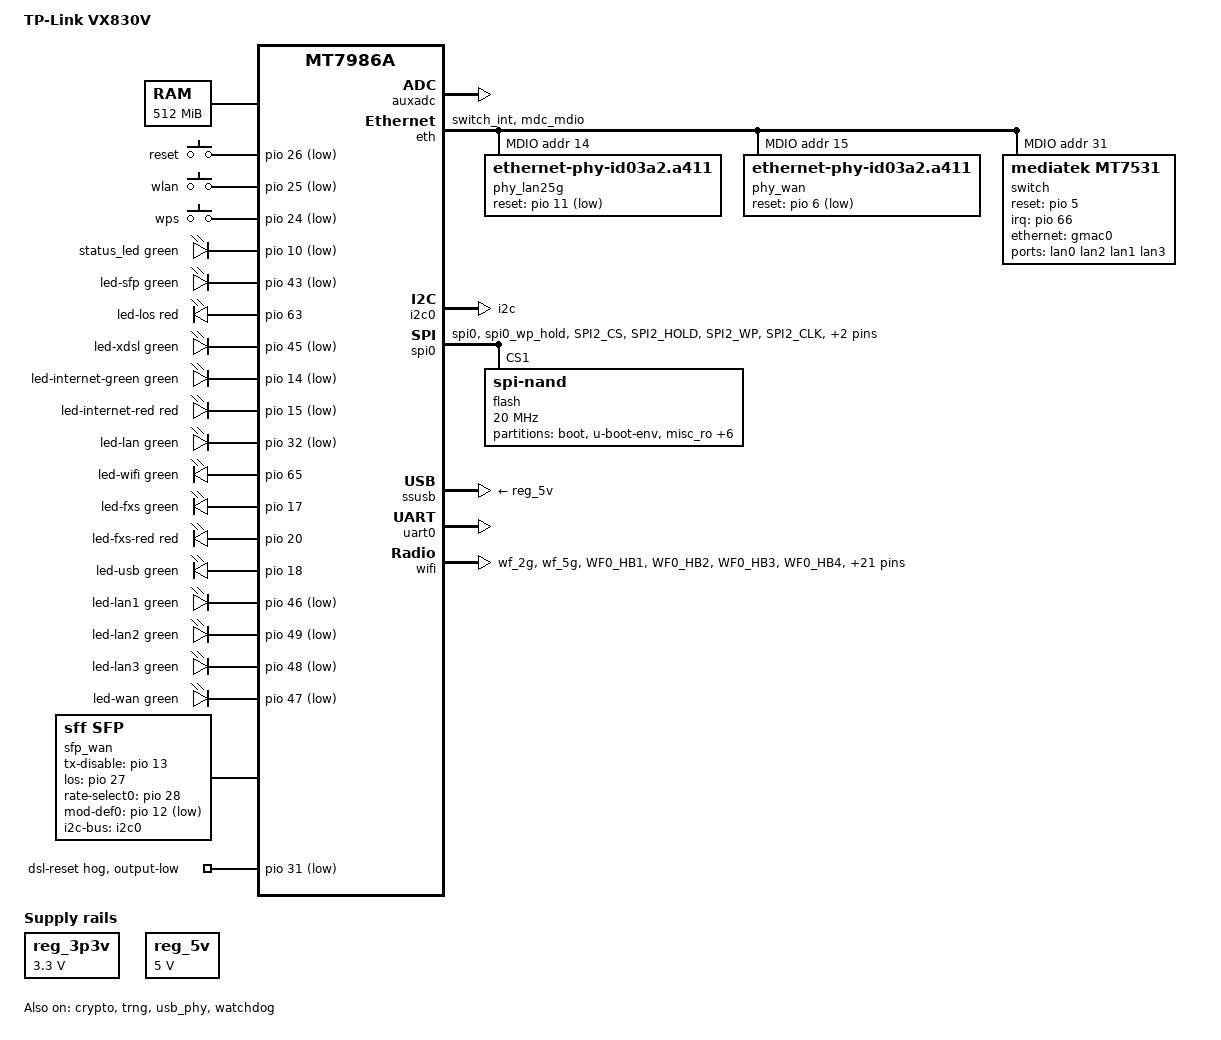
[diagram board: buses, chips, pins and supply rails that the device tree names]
// SPDX-License-Identifier: GPL-2.0-or-later OR MIT
/*
 * Copyright (C) 2026 Alessandro <ciaomvv@gmail.com>
 */

/dts-v1/;
#include <dt-bindings/gpio/gpio.h>
#include <dt-bindings/input/input.h>
#include <dt-bindings/leds/common.h>
#include <dt-bindings/pinctrl/mt65xx.h>

#include "mt7986a.dtsi"

/ {
	model = "TP-Link VX830V";
	compatible = "tplink,vx830v", "mediatek,mt7986a";

	aliases {
		ethernet0 = &gmac0;
		ethernet1 = &gmac1;
		serial0 = &uart0;

		led-boot = &status_led;
		led-failsafe = &status_led;
		led-running = &status_led;
		led-upgrade = &status_led;
	};

	chosen {
		stdout-path = "serial0:115200n8";
		bootargs = "console=ttyS0,115200n1 loglevel=8 earlycon=uart8250,mmio32,0x11002000 ubi.mtd=ubi0";
	};

	memory@40000000 {
		device_type = "memory";
		reg = <0 0x40000000 0 0x20000000>;
	};

	gpio-keys {
		compatible = "gpio-keys";

		button-reset {
			label = "reset";
			linux,code = <KEY_RESTART>;
			gpios = <&pio 26 GPIO_ACTIVE_LOW>;
		};

		wlan-button {
			label = "wlan";
			linux,code = <KEY_WLAN>;
			gpios = <&pio 25 GPIO_ACTIVE_LOW>;
		};

		button-wps {
			label = "wps";
			linux,code = <KEY_WPS_BUTTON>;
			gpios = <&pio 24 GPIO_ACTIVE_LOW>;
		};
	};

	gpio-leds {
		compatible = "gpio-leds";

		status_led: led-power {
			function = LED_FUNCTION_POWER;
			color = <LED_COLOR_ID_GREEN>;
			gpios = <&pio 10 GPIO_ACTIVE_LOW>;
			linux,default-trigger = "default-on";
		};

		led-sfp {
			function = "sfp";
			color = <LED_COLOR_ID_GREEN>;
			gpios = <&pio 43 GPIO_ACTIVE_LOW>;
		};

		led-los {
			function = "los";
			color = <LED_COLOR_ID_RED>;
			gpios = <&pio 63 GPIO_ACTIVE_HIGH>;
		};

		led-xdsl {
			function = "dsl";
			color = <LED_COLOR_ID_GREEN>;
			gpios = <&pio 45 GPIO_ACTIVE_LOW>;
		};

		led-internet-green {
			function = "internet";
			color = <LED_COLOR_ID_GREEN>;
			gpios = <&pio 14 GPIO_ACTIVE_LOW>;
		};

		led-internet-red {
			function = "internet";
			color = <LED_COLOR_ID_RED>;
			gpios = <&pio 15 GPIO_ACTIVE_LOW>;
		};

		led-lan {
			function = LED_FUNCTION_LAN;
			color = <LED_COLOR_ID_GREEN>;
			gpios = <&pio 32 GPIO_ACTIVE_LOW>;
		};

		led-wifi {
			function = LED_FUNCTION_WLAN;
			color = <LED_COLOR_ID_GREEN>;
			gpios = <&pio 65 GPIO_ACTIVE_HIGH>;
		};

		led-fxs {
			function = "fxs";
			color = <LED_COLOR_ID_GREEN>;
			gpios = <&pio 17 GPIO_ACTIVE_HIGH>;
		};

		led-fxs-red {
			function = "fxs";
			color = <LED_COLOR_ID_RED>;
			gpios = <&pio 20 GPIO_ACTIVE_HIGH>;
		};

		led-usb {
			function = LED_FUNCTION_USB;
			color = <LED_COLOR_ID_GREEN>;
			gpios = <&pio 18 GPIO_ACTIVE_HIGH>;
		};

		/* Rear Ports LEDs */
		led-lan1 {
			function = LED_FUNCTION_LAN;
			function-enumerator = <1>;
			color = <LED_COLOR_ID_GREEN>;
			gpios = <&pio 46 GPIO_ACTIVE_LOW>;
		};

		led-lan2 {
			function = LED_FUNCTION_LAN;
			function-enumerator = <2>;
			color = <LED_COLOR_ID_GREEN>;
			gpios = <&pio 49 GPIO_ACTIVE_LOW>;
		};

		led-lan3 {
			function = LED_FUNCTION_LAN;
			function-enumerator = <3>;
			color = <LED_COLOR_ID_GREEN>;
			gpios = <&pio 48 GPIO_ACTIVE_LOW>;
		};

		led-wan {
			function = LED_FUNCTION_WAN;
			color = <LED_COLOR_ID_GREEN>;
			gpios = <&pio 47 GPIO_ACTIVE_LOW>;
		};
	};

	sfp_wan: sfp@0 {
		compatible = "sff,sfp";
		i2c-bus = <&i2c0>;

		tx-disable-gpios = <&pio 13 GPIO_ACTIVE_HIGH>;
		los-gpios = <&pio 27 GPIO_ACTIVE_HIGH>;
		rate-select0-gpios = <&pio 28 GPIO_ACTIVE_HIGH>;
/*		tx-fault-gpios = <&pio 42 1>;*/
		mod-def0-gpios = <&pio 12 GPIO_ACTIVE_LOW>;

		maximum-power-milliwatt = <2000>;
	};

	reg_3p3v: regulator-3p3v {
		compatible = "regulator-fixed";
		regulator-name = "fixed-3.3V";
		regulator-min-microvolt = <3300000>;
		regulator-max-microvolt = <3300000>;
		regulator-boot-on;
		regulator-always-on;
	};

	reg_5v: regulator-5v {
		compatible = "regulator-fixed";
		regulator-name = "fixed-5V";
		regulator-min-microvolt = <5000000>;
		regulator-max-microvolt = <5000000>;
		regulator-boot-on;
		regulator-always-on;
	};
};

&auxadc {
	status = "okay";
};

&crypto {
	status = "okay";
};

&eth {
	pinctrl-names = "default";
	pinctrl-0 = <&eth_pins>;
	status = "okay";

	gmac0: mac@0 {
		compatible = "mediatek,eth-mac";
		reg = <0>;

		phy-mode = "2500base-x";

		fixed-link {
			speed = <2500>;
			full-duplex;
			pause;
		};
	};

	gmac1: mac@1 {
		compatible = "mediatek,eth-mac";
		reg = <1>;

		phy-mode = "2500base-x";
		phy-handle = <&phy_wan>;
		openwrt,netdev-name = "wan";
	};

	mdio: mdio-bus {
		#address-cells = <1>;
		#size-cells = <0>;
	};
};

&i2c0 {
	pinctrl-names = "default";
	pinctrl-0 = <&i2c_pins>;
	status = "okay";
};

&mdio {
	phy_lan25g: ethernet-phy@14 {
		compatible = "ethernet-phy-id03a2.a411";
		reg = <14>;

		reset-gpios = <&pio 11 GPIO_ACTIVE_LOW>;
		reset-assert-us = <10000>;
		reset-deassert-us = <20000>;

		phy-mode = "2500base-x";
	};

	phy_wan: ethernet-phy@15 {
		compatible = "ethernet-phy-id03a2.a411";
		reg = <15>;

		reset-gpios = <&pio 6 GPIO_ACTIVE_LOW>;
		reset-assert-us = <10000>;
		reset-deassert-us = <20000>;

		phy-mode = "2500base-x";
	};

	switch: switch@1f {
		compatible = "mediatek,mt7531";
		reg = <31>;

		reset-gpios = <&pio 5 GPIO_ACTIVE_HIGH>;

		interrupt-controller;
		#interrupt-cells = <1>;
		interrupt-parent = <&pio>;
		interrupts = <66 IRQ_TYPE_LEVEL_HIGH>;
	};
};

&switch {
	ports {
		#address-cells = <1>;
		#size-cells = <0>;

		port@0 {
			reg = <0>;
			label = "lan0";
		};

		port@1 {
			reg = <1>;
			label = "lan2";
		};

		port@2 {
			reg = <2>;
			label = "lan1";
		};

		port@5 {
			reg = <5>;
			label = "lan3";
			phy-mode = "2500base-x";
			phy-handle = <&phy_lan25g>;
		};

		port@6 {
			reg = <6>;
			ethernet = <&gmac0>;
			phy-mode = "2500base-x";

			fixed-link {
				speed = <2500>;
				full-duplex;
				pause;
			};
		};
	};
};

&pio {
	eth_pins: eth-pins {
		mux {
			function = "eth";
			groups = "switch_int", "mdc_mdio";
		};
	};

	i2c_pins: i2c-pins {
		mux {
			function = "i2c";
			groups = "i2c";
		};
	};

	spi_flash_pins: spi-flash-pins-33-to-38 {
		mux {
			function = "spi";
			groups = "spi0", "spi0_wp_hold";
		};
		conf-pu {
			pins = "SPI2_CS", "SPI2_HOLD", "SPI2_WP";
			drive-strength = <MTK_DRIVE_8mA>;
			/*bias-disable;*/
			mediatek,pull-down-adv = <0>;
		};
		conf-pd {
			pins = "SPI2_CLK", "SPI2_MOSI", "SPI2_MISO";
			drive-strength = <MTK_DRIVE_8mA>;
			/*bias-disable;*/
			mediatek,pull-down-adv = <0>;
		};
	};

	wf_2g_5g_pins: wf-2g-5g-pins {
		mux {
			function = "wifi";
			groups = "wf_2g", "wf_5g";
		};
		conf {
			pins = "WF0_HB1", "WF0_HB2", "WF0_HB3", "WF0_HB4",
			       "WF0_HB0", "WF0_HB0_B", "WF0_HB5", "WF0_HB6",
			       "WF0_HB7", "WF0_HB8", "WF0_HB9", "WF0_HB10",
			       "WF0_TOP_CLK", "WF0_TOP_DATA", "WF1_HB1",
			       "WF1_HB2", "WF1_HB3", "WF1_HB4", "WF1_HB0",
			       "WF1_HB5", "WF1_HB6", "WF1_HB7", "WF1_HB8",
			       "WF1_TOP_CLK", "WF1_TOP_DATA";
			drive-strength = <MTK_DRIVE_4mA>;
		};
	};

	wf_dbdc_pins: wf-dbdc-pins {
		mux {
			function = "wifi";
			groups = "wf_dbdc";
		};
		conf {
			pins = "WF0_HB1", "WF0_HB2", "WF0_HB3", "WF0_HB4",
			       "WF0_HB0", "WF0_HB0_B", "WF0_HB5", "WF0_HB6",
			       "WF0_HB7", "WF0_HB8", "WF0_HB9", "WF0_HB10",
			       "WF0_TOP_CLK", "WF0_TOP_DATA", "WF1_HB1",
			       "WF1_HB2", "WF1_HB3", "WF1_HB4", "WF1_HB0",
			       "WF1_HB5", "WF1_HB6", "WF1_HB7", "WF1_HB8",
			       "WF1_TOP_CLK", "WF1_TOP_DATA";
			drive-strength = <MTK_DRIVE_4mA>;
		};
	};

	dsl-reset-hog {
		gpio-hog;
		gpios = <31 GPIO_ACTIVE_LOW>;
		output-low;
		line-name = "dsl-reset";
	};
};

&spi0 {
	pinctrl-names = "default";
	pinctrl-0 = <&spi_flash_pins>;
	cs-gpios = <0>, <0>;
	status = "okay";

	flash@1 {
		compatible = "spi-nand";
		reg = <1>;

		spi-max-frequency = <20000000>;
		spi-tx-bus-width = <4>;
		spi-rx-bus-width = <4>;

		mediatek,nmbm;
		mediatek,bmt-max-ratio = <1>;
		mediatek,bmt-max-reserved-blocks = <64>;

		partitions {
			compatible = "fixed-partitions";
			#address-cells = <1>;
			#size-cells = <1>;

			partition@0 {
				label = "boot";
				reg = <0x000000 0x200000>;
				read-only;
			};

			partition@200000 {
				label = "u-boot-env";
				reg = <0x200000 0x100000>;
			};

			partition@300000 {
				label = "misc_ro";
				reg = <0x300000 0x600000>;
				read-only;
			};

			partition@900000 {
				label = "misc_rw";
				reg = <0x900000 0x600000>;
			};

			partition@f00000 {
				label = "ubi0";
				reg = <0x0f00000 0x2800000>;
			};

			partition@3700000 {
				label = "ubi1";
				reg = <0x3700000 0x2800000>;
			};

			partition@5f00000 {
				label = "misc_rw_bak";
				reg = <0x5f00000 0x600000>;
			};

			partition@6500000 {
				label = "bflag";
				reg = <0x6500000 0x600000>;
			};

			partition@6b00000 {
				label = "misc_isp";
				reg = <0x6b00000 0x600000>;
			};
		};
	};
};

&ssusb {
	vusb33-supply = <&reg_3p3v>;
	vbus-supply = <&reg_5v>;
	status = "okay";
};

&trng {
	status = "okay";
};

&uart0 {
	status = "okay";
};

&usb_phy {
	status = "okay";
};

&watchdog {
	status = "okay";
};

&wifi {
	pinctrl-names = "default", "dbdc";
	pinctrl-0 = <&wf_2g_5g_pins>;
	pinctrl-1 = <&wf_dbdc_pins>;
	status = "okay";
};
